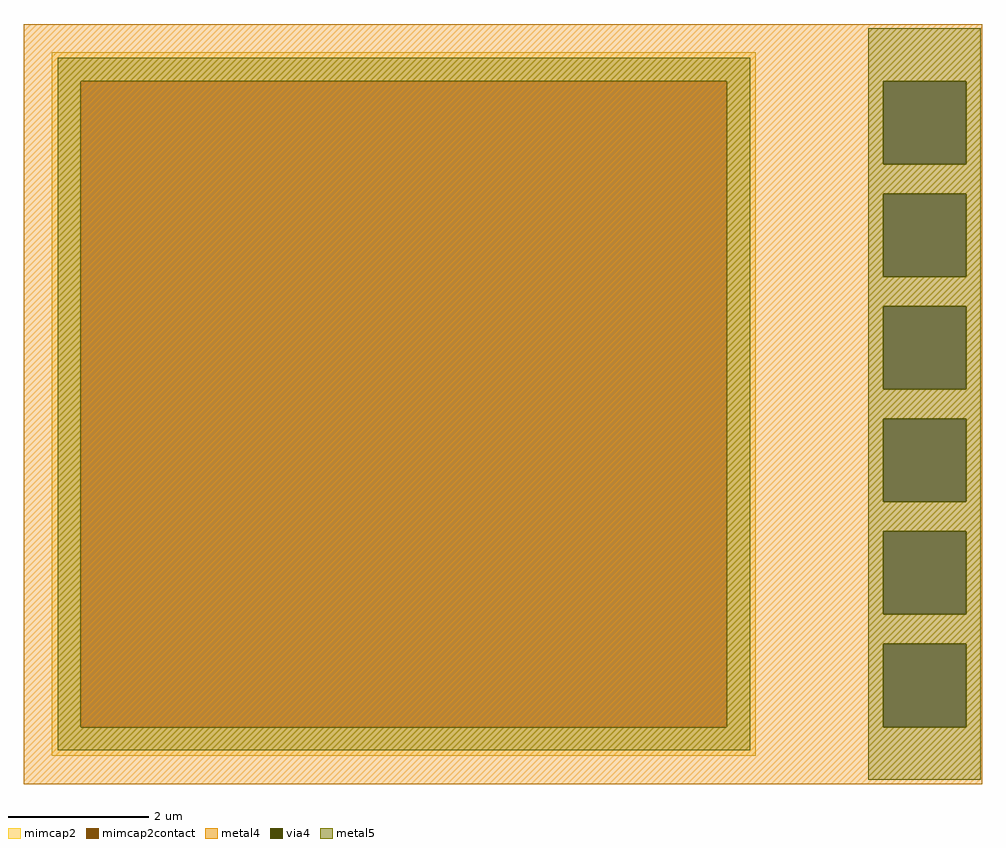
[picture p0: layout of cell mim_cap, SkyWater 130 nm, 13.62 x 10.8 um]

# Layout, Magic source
magic
tech sky130A
<< metal4 >>
rect -40 959 1322 1040
rect -40 841 1181 959
rect 1299 841 1322 959
rect -40 799 1322 841
rect -40 681 1181 799
rect 1299 681 1322 799
rect -40 639 1322 681
rect -40 521 1181 639
rect 1299 521 1322 639
rect -40 479 1322 521
rect -40 361 1181 479
rect 1299 361 1322 479
rect -40 319 1322 361
rect -40 201 1181 319
rect 1299 201 1322 319
rect -40 159 1322 201
rect -40 41 1181 159
rect 1299 41 1322 159
rect -40 -40 1322 41
<< via4 >>
rect 1181 841 1299 959
rect 1181 681 1299 799
rect 1181 521 1299 639
rect 1181 361 1299 479
rect 1181 201 1299 319
rect 1181 41 1299 159
<< mimcap2 >>
rect 0 959 1000 1000
rect 0 41 41 959
rect 959 41 1000 959
rect 0 0 1000 41
<< mimcap2contact >>
rect 41 41 959 959
<< metal5 >>
rect 8 959 992 992
rect 8 41 41 959
rect 959 41 992 959
rect 8 8 992 41
rect 1160 959 1320 1034
rect 1160 841 1181 959
rect 1299 841 1320 959
rect 1160 799 1320 841
rect 1160 681 1181 799
rect 1299 681 1320 799
rect 1160 639 1320 681
rect 1160 521 1181 639
rect 1299 521 1320 639
rect 1160 479 1320 521
rect 1160 361 1181 479
rect 1299 361 1320 479
rect 1160 319 1320 361
rect 1160 201 1181 319
rect 1299 201 1320 319
rect 1160 159 1320 201
rect 1160 41 1181 159
rect 1299 41 1320 159
rect 1160 -34 1320 41
<< end >>
